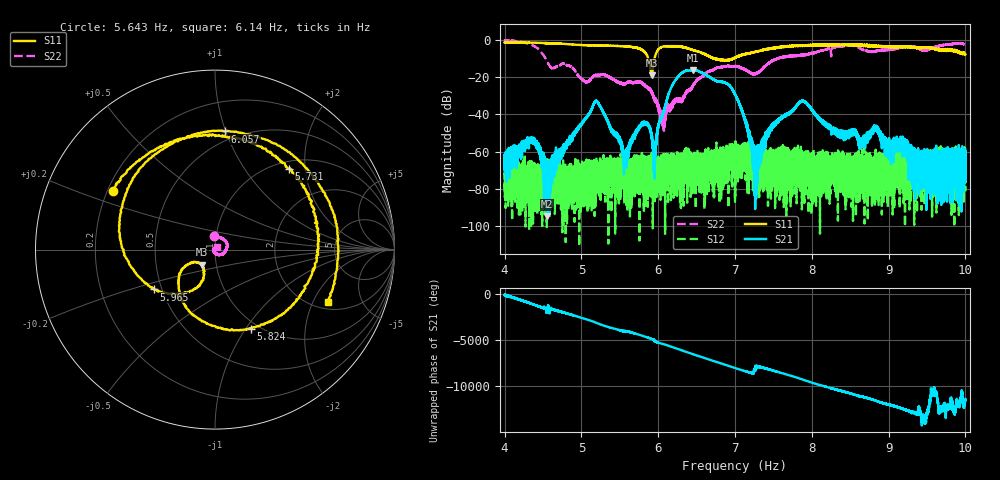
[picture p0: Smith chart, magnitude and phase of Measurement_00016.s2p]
!Created with skrf (http://scikit-rf.org).
# Hz S RI R 50.0
!freq ReS11 ImS11 ReS21 ImS21 ReS12 ImS12 ReS22 ImS22
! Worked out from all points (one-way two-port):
!   14001 points, 4 Hz to 10 Hz, reference 50 ohm
!   highest |S21| = -16.05 dB at 6.447 Hz (marker M1); lowest = -94.9 dB at 4.551 Hz (marker M2)
!   lowest |S11| = -19.0 dB at 5.916 Hz (marker M3), VSWR 1.25, Z = 42.5 - j7.2 ohm
!   |S11| at or under -10 dB: 5.872 Hz to 5.952 Hz (79.7 mHz wide, 1.35 % of centre); 6.742018 Hz to 6.762852 Hz (20.83 mHz wide, 0.309 % of centre); 6.763 Hz to 6.965 Hz (202.4 mHz wide, 2.95 % of centre) (the widest 3 of 6)
!   |S22| runs from -48.8 to -0.2 dB; largest |S21 - S12| = 0.16
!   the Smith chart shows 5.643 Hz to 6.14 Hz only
!   S11 on the Smith chart (normalised r, x): 5.643 Hz: 0.22, +0.25; 5.731 Hz: 1.14, +1.64; 5.824 Hz: 0.92, -1.06; 5.965 Hz: 0.45, -0.24; 6.057 Hz: 0.43, +0.99; 6.14 Hz: 2.33, -2.60
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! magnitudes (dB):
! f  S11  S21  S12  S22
! 4 Hz  -1.2  -63.1  -82.0  -0.2
! 4.361 Hz  -1.4  -53.4  -75.5  -2.7
! 4.551 Hz  -1.6  -94.9  -79.9  -11.2
! 5 Hz  -2.6  -45.1  -70.7  -20.7
! 5.2 Hz  -2.9  -32.9  -71.7  -18.8
! 5.561 Hz  -3.4  -63.0  -70.7  -23.7
! 5.643 Hz  -3.7  -54.6  -68.4  -22.7
! 5.731 Hz  -4.3  -47.8  -67.3  -22.4
! 5.824 Hz  -6.3  -44.4  -64.4  -24.4
! 5.916 Hz  -19.0  -52.7  -62.3  -28.1
! 5.965 Hz  -7.8  -58.0  -82.7  -33.3
! 6 Hz  -5.1  -46.2  -78.7  -36.6
! 6.057 Hz  -3.6  -39.9  -66.2  -43.1
! 6.14 Hz  -3.2  -28.6  -65.0  -35.3
! 6.447 Hz  -5.3  -16.0  -66.7  -24.8
! 7 Hz  -9.4  -29.4  -87.0  -14.1
! 7.269 Hz  -6.3  -71.0  -63.5  -18.1
! 7.499 Hz  -4.3  -46.3  -64.4  -10.7
! 8 Hz  -2.9  -37.4  -71.6  -6.9
! 9 Hz  -3.6  -59.9  -73.1  -5.0
! 9.476 Hz  -4.0  -63.1  -65.2  -5.7
! 10 Hz  -7.7  -59.0  -70.6  -3.1
